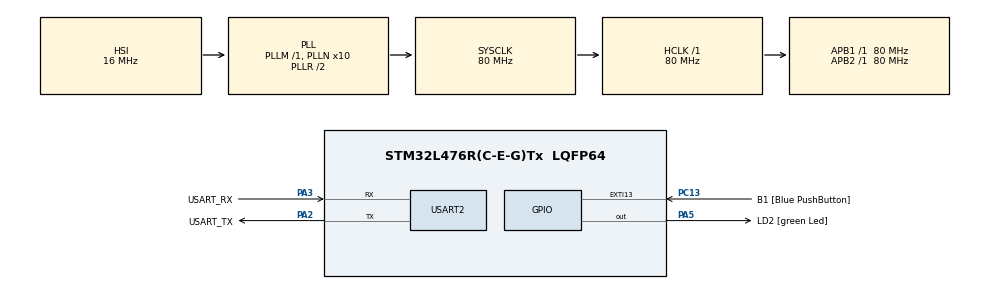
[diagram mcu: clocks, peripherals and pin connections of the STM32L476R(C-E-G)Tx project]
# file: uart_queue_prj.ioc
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FREERTOS.Tasks01=defaultTask,24,128,StartDefaultTask,Default,NULL,Dynamic,NULL,NULL
FREERTOS.configCHECK_FOR_STACK_OVERFLOW=2
FREERTOS.configTOTAL_HEAP_SIZE=24576
FREERTOS.configUSE_MALLOC_FAILED_HOOK=1
Mcu.Family=STM32L4
Mcu.Name=STM32L476R(C-E-G)Tx
Mcu.Package=LQFP64
NVIC.PriorityGroup=NVIC_PRIORITYGROUP_4
NVIC.TIM6_DAC_IRQn=true\:15\:0\:false\:false\:true\:false\:false\:true\:true
NVIC.TimeBase=TIM6_DAC_IRQn
NVIC.TimeBaseIP=TIM6
PA13\ (JTMS-SWDIO).GPIO_Label=TMS
PA13\ (JTMS-SWDIO).Signal=SYS_JTMS-SWDIO
PA14\ (JTCK-SWCLK).GPIO_Label=TCK
PA14\ (JTCK-SWCLK).Signal=SYS_JTCK-SWCLK
PA2.GPIO_Label=USART_TX
PA2.GPIO_Mode=GPIO_MODE_AF_PP
PA2.GPIO_PuPd=GPIO_NOPULL
PA2.GPIO_Speed=GPIO_SPEED_FREQ_VERY_HIGH
PA2.Mode=Asynchronous
PA2.Signal=USART2_TX
PA3.GPIO_Label=USART_RX
PA3.GPIO_Mode=GPIO_MODE_AF_PP
PA3.GPIO_PuPd=GPIO_NOPULL
PA3.GPIO_Speed=GPIO_SPEED_FREQ_VERY_HIGH
PA3.Mode=Asynchronous
PA3.Signal=USART2_RX
PA5.GPIO_Label=LD2 [green Led]
PA5.GPIO_ModeDefaultOutputPP=GPIO_MODE_OUTPUT_PP
PA5.GPIO_PuPd=GPIO_NOPULL
PA5.GPIO_Speed=GPIO_SPEED_FREQ_LOW
PA5.Signal=GPIO_Output
PB3\ (JTDO-TRACESWO).GPIO_Label=SWO
PB3\ (JTDO-TRACESWO).Signal=SYS_JTDO-SWO
PC13.GPIO_Label=B1 [Blue PushButton]
PC13.GPIO_ModeDefaultEXTI=GPIO_MODE_IT_FALLING
PC13.GPIO_PuPd=GPIO_NOPULL
PC13.Signal=GPXTI13
PC14-OSC32_IN\ (PC14).Signal=RCC_OSC32_IN
PC15-OSC32_OUT\ (PC15).Signal=RCC_OSC32_OUT
PH0-OSC_IN\ (PH0).Signal=RCC_OSC_IN
PH1-OSC_OUT\ (PH1).Signal=RCC_OSC_OUT
ProjectManager.HeapSize=0x200
ProjectManager.StackSize=0x400
ProjectManager.TargetToolchain=CMake
RCC.ADCFreq_Value=64000000
RCC.AHBFreq_Value=80000000
RCC.APB1Freq_Value=80000000
RCC.APB1TimFreq_Value=80000000
RCC.APB2Freq_Value=80000000
RCC.APB2TimFreq_Value=80000000
RCC.CortexFreq_Value=80000000
RCC.HCLKFreq_Value=80000000
RCC.HSE_VALUE=8000000
RCC.HSI_VALUE=16000000
RCC.LSE_VALUE=32768
RCC.MSI_VALUE=4000000
RCC.PLLN=10
RCC.PLLSourceVirtual=RCC_PLLSOURCE_HSI
RCC.PREFETCH_ENABLE=1
RCC.SYSCLKFreq_VALUE=80000000
RCC.SYSCLKSource=RCC_SYSCLKSOURCE_PLLCLK
RCC.USBFreq_Value=64000000
RCC.VCOOutputFreq_Value=160000000
TIM2.Period=4294967295
TIM2.Prescaler=79999
USART2.VirtualMode-Asynchronous=VM_ASYNC
VP_FREERTOS_VS_CMSIS_V2.Mode=CMSIS_V2
VP_SYS_VS_tim6.Mode=TIM6
VP_TIM2_VS_ClockSourceINT.Mode=Internal
board=NUCLEO-L476RG

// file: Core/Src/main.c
/* USER CODE BEGIN Header */
/*
producer 0.2s ---|
producer 0.5s ---+--> queue of msg_t --> receiver task --> USART2 --> PC
producer 3s   ---|
*/
/* USER CODE END Header */
#include "main.h"
#include "cmsis_os.h"
#include "tim.h"
#include "usart.h"
#include "gpio.h"

/* USER CODE BEGIN Includes */
#include <stdint.h>
#include <stdio.h>
#include <string.h>

#include "FreeRTOS.h"
#include "task.h"
#include "queue.h"
/* USER CODE END Includes */

/* USER CODE BEGIN PTD */

// @brief phase enum is 4 producer 2 indicate if it is
// starting a long task, ending long task, or neither.
// receiver can use this information 2 know when producer
// is busy and when it is done
typedef enum {
    PHASE_NONE = 0, // 1st is 0, next are 1, 2..
    PHASE_START,
    PHASE_END
} phase_t;

// @brief msg_t is message type that is sent 4m producer 2 receiver
typedef struct {
    uint32_t period_ms;
    uint32_t timestamp_ms;
    uint8_t phase;
} msg_t;

// @brief producer_cfg_t is configuration struct that is passed 2 producer tas
typedef struct {
    uint32_t period_ms;
} producer_cfg_t;

/* USER CODE END PTD */

/* USER CODE BEGIN PD */

/*
producer 0.2s ---|
producer 0.5s ---+--> queue of msg_t --> receiver task --> USART2 --> PC
producer 3s   ---|
*/

#ifndef RX_MODE_BATCH
#define RX_MODE_BATCH 0
#endif
#ifndef LONG_TASK // long_task is 4 producer 2 simulate a long task that takes LONG_TASK_MS ms to complete
#define LONG_TASK 0
#endif
#ifndef LONG_TASK_MS
#define LONG_TASK_MS 300U
#endif

#define QUEUE_LEN 64U // quqe len is in number of msg_t, not bytes
#define RX_BATCH_PERIOD 5000U

/* USER CODE END PD */

/* USER CODE BEGIN PV */
// global variables type shi...
static QueueHandle_t q_queue; // our queue 2 which producers send messages & receiver receives messages
static volatile uint32_t g_dropped; // count of msgs being dripped because of full queue
static const producer_cfg_t k_cfg_200 = { .period_ms = 200U };
static const producer_cfg_t k_cfg_500 = { .period_ms = 500U };
static const producer_cfg_t k_cfg_3000 = { .period_ms = 3000U };
/* USER CODE END PV */

void SystemClock_Config(void);
void MX_FREERTOS_Init(void);

/* USER CODE BEGIN 0 */

// returns ms since TIM2 was started (replaces board_ms())
static inline uint32_t app_ms(void) {
    return __HAL_TIM_GET_COUNTER(&htim2);
}

// blocking uart write via HAL (replaces board_uart_write())
static void app_uart_write(const char *s) {
    HAL_UART_Transmit(&huart2, (const uint8_t *)s, (uint16_t)strlen(s), HAL_MAX_DELAY);
}

// @brief post is function that is called upn by producer task 2 send msg 2 queue
static void post(uint32_t period_ms, phase_t phase) {
    msg_t m = { period_ms, app_ms(), (uint8_t)phase };

    if (xQueueSend(q_queue, &m, 0) != pdPASS) {
        g_dropped++; // 4 show dropped messages type shi..
    }
}

// @brief producer_task is task that runs in a loop, waits for period_ms, and sends msg 2 queue
static void producer_task(void *arg) {
    const uint32_t period = ((const producer_cfg_t *)arg)->period_ms;
    TickType_t last = xTaskGetTickCount(); // gettin current tick count 4m scheduler start

    for (;;) {
        vTaskDelayUntil(&last, pdMS_TO_TICKS(period)); // delay curr task until in abs time last + pdMS_TO_TICKS(period
#if LONG_TASK
        if (period == 500U) {
            post(period, PHASE_START); // send start msg 2 receiver
            uint32_t t0 = app_ms();
            while ((app_ms() - t0) < LONG_TASK_MS) { }
            post(period, PHASE_END); // send end msg 2 receiver
            continue;
        }
#endif
        post(period, PHASE_NONE); // send msg 2 receiver
    }
}

// @brief fmt_period formats the period in ms into string repr
static int fmt_period(char *out, size_t n, uint32_t ms) {
    uint32_t s = ms / 1000U, f = ms % 1000U; // where f is the fractional part of the seconds

    if (f == 0U)
        return snprintf(out, n, "%lus", (unsigned long)s); // if no fractional part, just print seconds, cause snprintf is used just 2 format the string..

    char frac[4];
    snprintf(frac, sizeof(frac), "%03lu", (unsigned long)f); // format fractional part with leading zeros

    // remove trailing zeros from fractional part
    for (int i = 2; i > 0 && frac[i] == '0'; i--)
        frac[i] = '\0';

    return snprintf(out, n, "%lu.%ss", (unsigned long)s, frac); // print seconds and fractional part
}

// @brief fmt_time formats timestamp in ms into string repr
static int fmt_time(char *out, size_t n, uint32_t ms) {
    uint32_t s = ms / 1000U, f = ms % 1000U;

    if (s == 0U)
        return snprintf(out, n, "%lums", (unsigned long)f);
    if (f == 0U)
        return snprintf(out, n, "%lus", (unsigned long)s);

    return snprintf(out, n, "%lus %lums", (unsigned long)s, (unsigned long)f);
}

// @brief print_msg formats and prints the message to UART
static void print_msg(const msg_t *m) {
    // we have 1d arra of const char pointers so we cannot do
    // tag[x][y] = z as well as tag[x] = "y"
    static const char *const tag[] = {
        "",
        " start",
        " end"
    };
    char per[16], ts[24], line[80]; // buffers 4 formatted period, timestamp, and final line
    fmt_period(per, sizeof(per), m->period_ms);
    fmt_time(ts, sizeof(ts), m->timestamp_ms);
    // format the final line with task period, phase, and timestamp
    snprintf(line, sizeof(line), "Task %s%s - %s\r\n", per, tag[m->phase <= PHASE_END ? m->phase : 0], ts);
    app_uart_write(line); // write the line 2 uart
}

static void receiver_task(void *arg) {
    (void)arg; // unused parameter
    msg_t m;
    uint32_t reported_drops = 0U;
    TickType_t last = xTaskGetTickCount();

    for (;;) {
#if RX_MODE_BATCH
        // we just wait for the batch period and then read all messages in the queue & send em
        vTaskDelayUntil(&last, pdMS_TO_TICKS(RX_BATCH_PERIOD)); // wait for batch period
        while (xQueueReceive(q_queue, &m, 0) == pdPASS) {
            print_msg(&m); // print each message in the batch -> and also send 2 uart
        }
#else
        // we just wait for a message and print it immediately
        (void)last;

        if (xQueueReceive(q_queue, &m, portMAX_DELAY) == pdPASS) {
            print_msg(&m);
        }
#endif
        uint32_t d = g_dropped;

        if (d != reported_drops) {
            char line[40];
            snprintf(line, sizeof(line), "dropped msgs count -> %lu\r\n", (unsigned long)d);
            app_uart_write(line);
            reported_drops = d;
        }
    }
}

// called from MX_FREERTOS_Init() in freertos.c (replaces the body of your old main())
void app_start(void) {
    q_queue = xQueueCreate(QUEUE_LEN, sizeof(msg_t)); // create the queue with QUEUE_LEN and size 4 each element being sizeof(msg_t)
    configASSERT(q_queue != NULL);
    vQueueAddToRegistry(q_queue, "msgq");

    xTaskCreate(producer_task, "p200", 256, (void *)&k_cfg_200, 4, NULL); // k_cfg_200 is
    xTaskCreate(producer_task, "p500", 256, (void *)&k_cfg_500, 3, NULL);
    xTaskCreate(producer_task, "p3000", 256, (void *)&k_cfg_3000, 2, NULL);
    xTaskCreate(receiver_task, "rx", 384, NULL, 1, NULL);
}

/* USER CODE END 0 */

int main(void)
{

  /* MCU Configuration--------------------------------------------------------*/

  /* Reset of all peripherals, Initializes the Flash interface and the Systick. */
  HAL_Init();

  /* Configure the system clock */
  SystemClock_Config();

  /* Initialize all configured peripherals */
  MX_GPIO_Init();
  MX_TIM2_Init();
  MX_USART2_UART_Init();
  /* USER CODE BEGIN 2 */
  HAL_TIM_Base_Start(&htim2);   /* ms counter starts here */

  app_uart_write("\r\n--- uart_queue_prj: "
#if RX_MODE_BATCH
                 "RX every 5 s"
#else
                 "RX immediate"
#endif
#if LONG_TASK
                 ", long 0.5s task"
#endif
                 " ---\r\n");
  /* USER CODE END 2 */

  /* Init scheduler */
  osKernelInitialize();

  /* Call init function for freertos objects (in cmsis_os2.c) */
  MX_FREERTOS_Init();

  /* Start scheduler */
  osKernelStart();

  /* We should never get here as control is now taken by the scheduler */

  /* Infinite loop */
  while (1)
  {

  }
}

void SystemClock_Config(void)
{
  RCC_OscInitTypeDef RCC_OscInitStruct = {0};
  RCC_ClkInitTypeDef RCC_ClkInitStruct = {0};

  /** Configure the main internal regulator output voltage
  */
  if (HAL_PWREx_ControlVoltageScaling(PWR_REGULATOR_VOLTAGE_SCALE1) != HAL_OK)
  {
    Error_Handler();
  }

  /** Initializes the RCC Oscillators according to the specified parameters
  * in the RCC_OscInitTypeDef structure.
  */
  RCC_OscInitStruct.OscillatorType = RCC_OSCILLATORTYPE_HSI;
  RCC_OscInitStruct.HSIState = RCC_HSI_ON;
  RCC_OscInitStruct.HSICalibrationValue = RCC_HSICALIBRATION_DEFAULT;
  RCC_OscInitStruct.PLL.PLLState = RCC_PLL_ON;
  RCC_OscInitStruct.PLL.PLLSource = RCC_PLLSOURCE_HSI;
  RCC_OscInitStruct.PLL.PLLM = 1;
  RCC_OscInitStruct.PLL.PLLN = 10;
  RCC_OscInitStruct.PLL.PLLP = RCC_PLLP_DIV7;
  RCC_OscInitStruct.PLL.PLLQ = RCC_PLLQ_DIV2;
  RCC_OscInitStruct.PLL.PLLR = RCC_PLLR_DIV2;
  if (HAL_RCC_OscConfig(&RCC_OscInitStruct) != HAL_OK)
  {
    Error_Handler();
  }

  /** Initializes the CPU, AHB and APB buses clocks
  */
  RCC_ClkInitStruct.ClockType = RCC_CLOCKTYPE_HCLK|RCC_CLOCKTYPE_SYSCLK
                              |RCC_CLOCKTYPE_PCLK1|RCC_CLOCKTYPE_PCLK2;
  RCC_ClkInitStruct.SYSCLKSource = RCC_SYSCLKSOURCE_PLLCLK;
  RCC_ClkInitStruct.AHBCLKDivider = RCC_SYSCLK_DIV1;
  RCC_ClkInitStruct.APB1CLKDivider = RCC_HCLK_DIV1;
  RCC_ClkInitStruct.APB2CLKDivider = RCC_HCLK_DIV1;

  if (HAL_RCC_ClockConfig(&RCC_ClkInitStruct, FLASH_LATENCY_4) != HAL_OK)
  {
    Error_Handler();
  }
}

void HAL_TIM_PeriodElapsedCallback(TIM_HandleTypeDef *htim)
{
  if (htim->Instance == TIM6)
  {
    HAL_IncTick();
  }
}

void Error_Handler(void)
{
  __disable_irq();
  while (1)
  {
  }
}

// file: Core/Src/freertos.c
/* USER CODE BEGIN Header */
/**
  ******************************************************************************
  * File Name          : freertos.c
  * Description        : Code for freertos applications
  ******************************************************************************
  * @attention
  *
  * Copyright (c) 2026 STMicroelectronics.
  * All rights reserved.
  *
  * This software is licensed under terms that can be found in the LICENSE file
  * in the root directory of this software component.
  * If no LICENSE file comes with this software, it is provided AS-IS.
  *
  ******************************************************************************
  */
/* USER CODE END Header */

#include "FreeRTOS.h"
#include "task.h"
#include "main.h"
#include "cmsis_os.h"

/* Definitions for defaultTask */
osThreadId_t defaultTaskHandle;
const osThreadAttr_t defaultTask_attributes = {
  .name = "defaultTask",
  .stack_size = 128 * 4,
  .priority = (osPriority_t) osPriorityNormal,
};

/* USER CODE BEGIN FunctionPrototypes */
void app_start(void);   /* main.c: queue + 4 tasks */
/* USER CODE END FunctionPrototypes */

void StartDefaultTask(void *argument);

void MX_FREERTOS_Init(void); /* (MISRA C 2004 rule 8.1) */

/* Hook prototypes */
void vApplicationStackOverflowHook(xTaskHandle xTask, signed char *pcTaskName);
void vApplicationMallocFailedHook(void);

/* USER CODE BEGIN 4 */
void vApplicationStackOverflowHook(xTaskHandle xTask, signed char *pcTaskName)
{
   /* Run time stack overflow checking is performed if
   configCHECK_FOR_STACK_OVERFLOW is defined to 1 or 2. This hook function is
   called if a stack overflow is detected. */
   // breakpoint 4m debugging stack overflow, same pattern -> disable ints, spin; xTask & pcTaskName identify offending task
   (void)xTask; (void)pcTaskName;
   taskDISABLE_INTERRUPTS();
   for (;;) { }
}
/* USER CODE END 4 */

/* USER CODE BEGIN 5 */
void vApplicationMallocFailedHook(void)
{
   /* vApplicationMallocFailedHook() will only be called if
   configUSE_MALLOC_FAILED_HOOK is set to 1 in FreeRTOSConfig.h. It is a hook
   function that will get called if a call to pvPortMalloc() fails.
   pvPortMalloc() is called internally by the kernel whenever a task, queue,
   timer or semaphore is created. It is also called by various parts of the
   demo application. If heap_1.c or heap_2.c are used, then the size of the
   heap available to pvPortMalloc() is defined by configTOTAL_HEAP_SIZE in
   FreeRTOSConfig.h, and the xPortGetFreeHeapSize() API function can be used
   to query the size of free heap space that remains (although it does not
   provide information on how the remaining heap might be fragmented). */
   // breakpoint 4m debugging malloc fail & disables ints 2 prevent context switch on a corrupted heap state
   taskDISABLE_INTERRUPTS();
   for (;;) { }
}
/* USER CODE END 5 */

void MX_FREERTOS_Init(void) {

  /* Create the thread(s) */
  /* creation of defaultTask */
  defaultTaskHandle = osThreadNew(StartDefaultTask, NULL, &defaultTask_attributes);

  /* USER CODE BEGIN RTOS_THREADS */
  app_start();   /* our queue + producer/receiver tasks */
  /* USER CODE END RTOS_THREADS */

}

void StartDefaultTask(void *argument)
{
  for(;;)
  {
    osDelay(1);
  }
}
